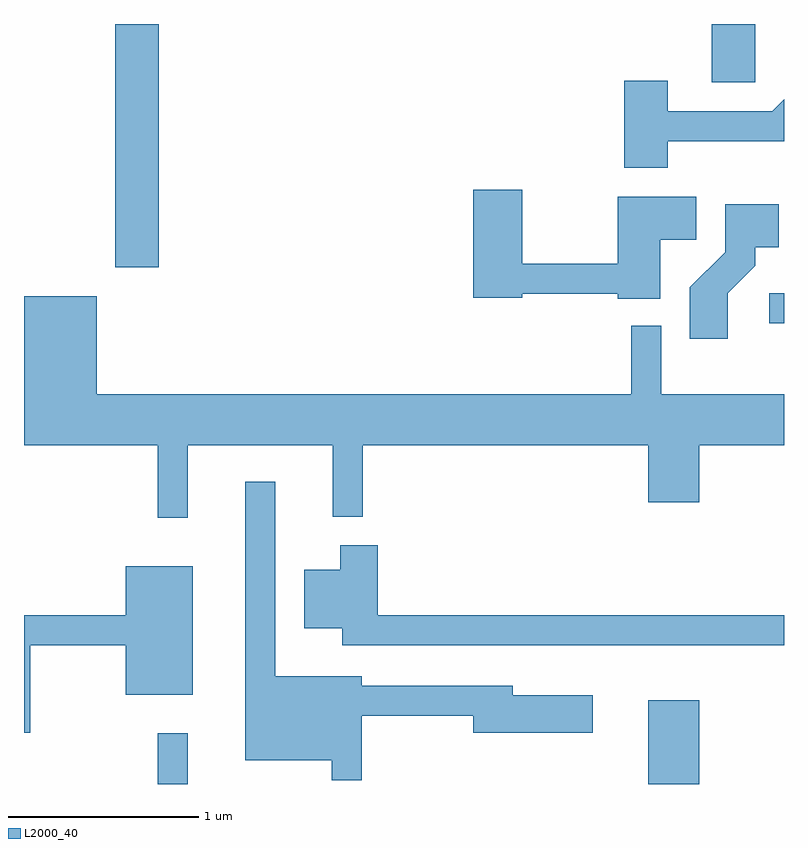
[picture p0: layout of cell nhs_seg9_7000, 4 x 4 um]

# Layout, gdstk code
import gdstk
lib = gdstk.Library(unit=1e-6, precision=1e-09)
def R(c, l, rs):  # rectangles x0, y0, x1, y1
    for r in rs: c.add(gdstk.rectangle(r[:2], r[2:], *l))
def P(c, l, *ps):  # polygons
    for p in ps: c.add(gdstk.Polygon(p, *l))
L2000_40 = (2000, 40)

nhs_seg9_7000 = lib.new_cell('nhs_seg9_7000')
R(nhs_seg9_7000, L2000_40, [(392.316,2034.432,392.474,2034.698), (394.896,2034.432,395.164,2034.874), (395.533,2036.856,395.611,2037.014), (392.091,2037.151,392.319,2038.432), (395.231,2038.126,395.459,2038.432)])
P(nhs_seg9_7000, L2000_40, [(394.999,2037.816),(395.611,2037.816),(395.611,2038.036),(395.549,2037.974),(394.999,2037.974),(394.999,2038.134),(394.771,2038.134),(394.771,2037.676),(394.999,2037.676)],
  [(394.959,2037.296),(395.149,2037.296),(395.149,2037.524),(394.736,2037.524),(394.736,2037.169),(394.234,2037.169),(394.234,2037.559),(393.976,2037.559),(393.976,2036.991),(394.234,2036.991),(394.234,2037.011),(394.736,2037.011),(394.736,2036.986),(394.959,2036.986)],
  [(395.314,2037.014),(395.459,2037.159),(395.459,2037.256),(395.584,2037.256),(395.584,2037.484),(395.301,2037.484),(395.301,2037.232),(395.116,2037.047),(395.116,2036.776),(395.314,2036.776)],
  [(392.474,2036.216),(393.236,2036.216),(393.236,2035.838),(393.394,2035.838),(393.394,2036.216),(394.896,2036.216),(394.896,2035.916),(395.164,2035.916),(395.164,2036.216),(395.611,2036.216),(395.611,2036.484),(394.964,2036.484),(394.964,2036.843),(394.806,2036.843),(394.806,2036.484),(391.994,2036.484),(391.994,2036.999),(391.611,2036.999),(391.611,2036.216),(392.316,2036.216),(392.316,2035.833),(392.474,2035.833)],
  [(393.389,2034.791),(393.976,2034.791),(393.976,2034.701),(394.604,2034.701),(394.604,2034.899),(394.184,2034.899),(394.184,2034.949),(393.389,2034.949),(393.389,2034.999),(392.934,2034.999),(392.934,2036.023),(392.776,2036.023),(392.776,2034.556),(393.231,2034.556),(393.231,2034.453),(393.389,2034.453)],
  [(395.611,2035.319),(393.474,2035.319),(393.474,2035.689),(393.276,2035.689),(393.276,2035.559),(393.086,2035.559),(393.086,2035.251),(393.286,2035.251),(393.286,2035.161),(395.611,2035.161)],
  [(391.644,2035.161),(392.146,2035.161),(392.146,2034.901),(392.499,2034.901),(392.499,2035.579),(392.146,2035.579),(392.146,2035.319),(391.611,2035.319),(391.611,2034.701),(391.644,2034.701)])

lib.write_gds('nhs_seg9_7000.gds')
